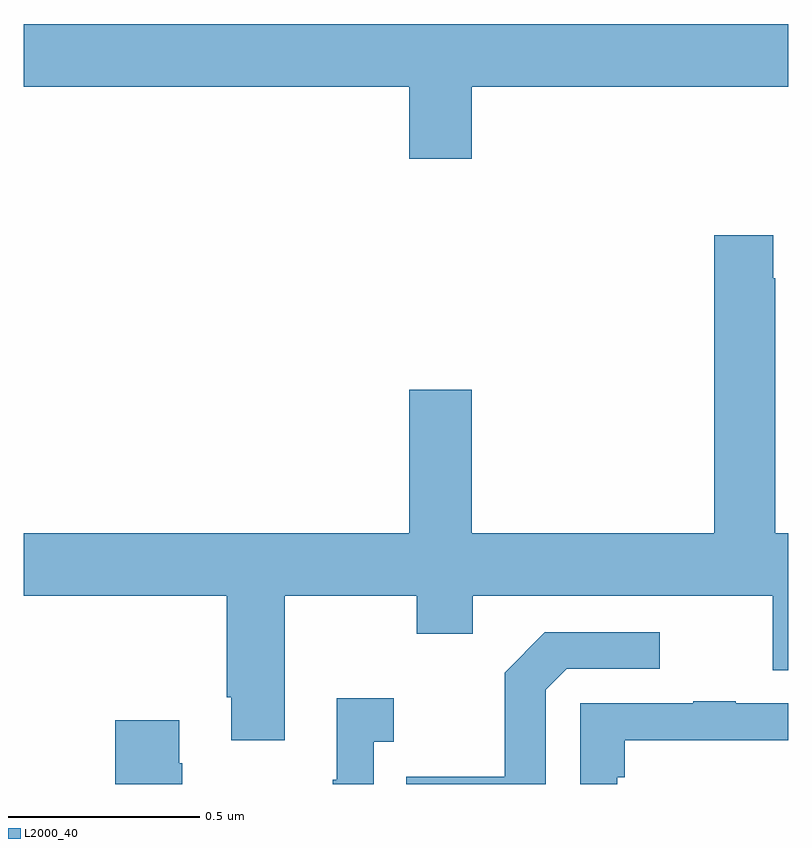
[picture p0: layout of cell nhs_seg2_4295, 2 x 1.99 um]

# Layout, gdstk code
import gdstk
lib = gdstk.Library(unit=1e-6, precision=1e-09)
def P(c, l, *ps):  # polygons
    for p in ps: c.add(gdstk.Polygon(p, *l))
L2000_40 = (2000, 40)

nhs_seg2_4295 = lib.new_cell('nhs_seg2_4295')
P(nhs_seg2_4295, L2000_40, [(165.172,659.624),(166,659.624),(166,659.788),(164,659.788),(164,659.624),(165.008,659.624),(165.008,659.436),(165.172,659.436)],
  [(164.683,658.292),(165.028,658.292),(165.028,658.193),(165.175,658.193),(165.175,658.292),(165.959,658.292),(165.959,658.098),(166,658.098),(166,658.456),(165.966,658.456),(165.966,659.123),(165.961,659.123),(165.961,659.236),(165.806,659.236),(165.806,658.456),(165.172,658.456),(165.172,658.831),(165.008,658.831),(165.008,658.456),(164,658.456),(164,658.292),(164.531,658.292),(164.531,658.027),(164.543,658.027),(164.543,657.915),(164.683,657.915)],
  [(165.366,658.047),(165.42,658.101),(165.664,658.101),(165.664,658.197),(165.363,658.197),(165.258,658.091),(165.258,657.819),(165.001,657.819),(165.001,657.8),(165.366,657.8)],
  [(164.916,657.911),(164.968,657.911),(164.968,658.024),(164.819,658.024),(164.819,657.811),(164.808,657.811),(164.808,657.8),(164.916,657.8)],
  [(165.552,657.818),(165.572,657.818),(165.572,657.915),(166,657.915),(166,658.011),(165.863,658.011),(165.863,658.016),(165.751,658.016),(165.751,658.011),(165.456,658.011),(165.456,657.8),(165.552,657.8)],
  [(164.415,657.854),(164.407,657.854),(164.407,657.967),(164.24,657.967),(164.24,657.8),(164.415,657.8)])

lib.write_gds('nhs_seg2_4295.gds')
